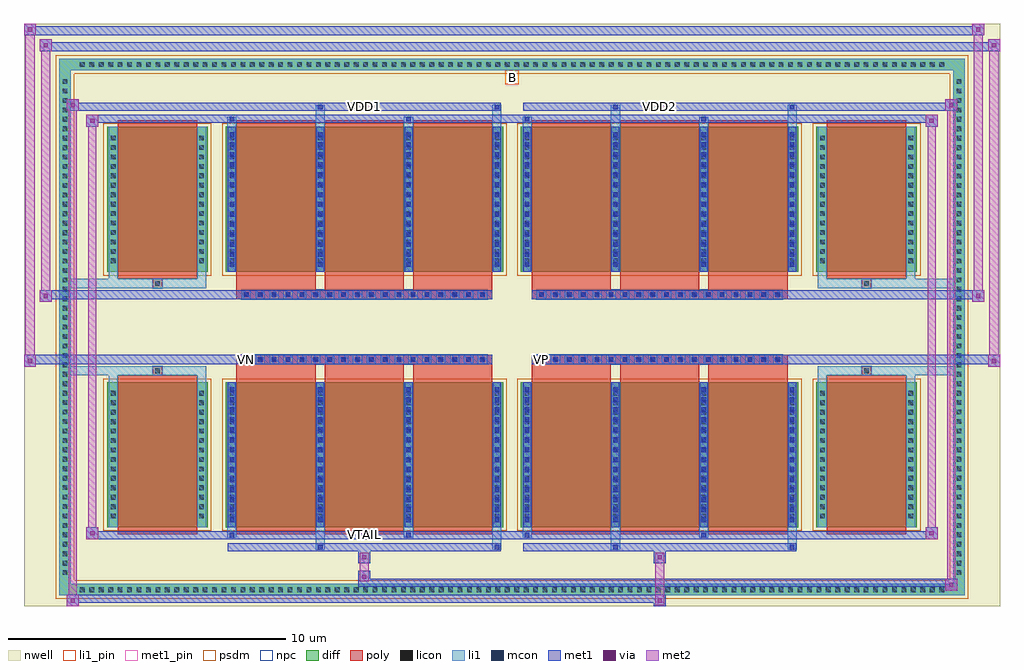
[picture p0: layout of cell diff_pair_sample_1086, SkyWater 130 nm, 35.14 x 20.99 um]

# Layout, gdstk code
import gdstk
lib = gdstk.Library(unit=1e-6, precision=5e-09)
def R(c, l, rs):  # rectangles x0, y0, x1, y1
    for r in rs: c.add(gdstk.rectangle(r[:2], r[2:], *l))
def A(c, l, x, y, w, h, nx, ny, dx, dy):  # array of equal rectangles
    R(c, l, [(x+i*dx, y+j*dy, x+i*dx+w, y+j*dy+h) for i in range(nx) for j in range(ny)])
def P(c, l, *ps):  # polygons
    for p in ps: c.add(gdstk.Polygon(p, *l))
nwell = (64, 20)
diff = (65, 20)
poly = (66, 20)
licon = (66, 44)
li1_pin = (67, 16)
li1 = (67, 20)
mcon = (67, 44)
met1_pin = (68, 16)
met1 = (68, 20)
via = (68, 44)
met2 = (69, 20)
psdm = (94, 20)
npc = (95, 20)

diff_pair_sample_1086 = lib.new_cell('diff_pair_sample_1086')
R(diff_pair_sample_1086, nwell, [(-17.57,-10.06,17.57,10.93), (-14.89,-8.25,-0.01,-0.805), (0.01,-8.25,14.89,-0.805), (-14.89,0.805,-0.01,8.25), (0.01,0.805,14.89,8.25)])
A(diff_pair_sample_1086, diff, -15.675, -9.66, 0.41, 0.41, 92, 2, 0.34, 18.91)
A(diff_pair_sample_1086, diff, -16.3, -9.045, 0.41, 0.41, 1, 53, 0, 0.34)
A(diff_pair_sample_1086, diff, 15.89, -9.045, 0.41, 0.41, 1, 53, 0, 0.34)
R(diff_pair_sample_1086, diff, [(-15.675,-9.66,15.675,-9.25), (-16.3,-9.045,-15.89,9.045), (15.89,-9.045,16.3,9.045), (-14.58,-7.205,-10.95,-1.985), (-10.31,-7.205,-0.32,-1.985), (0.32,-7.205,10.31,-1.985), (10.95,-7.205,14.58,-1.985), (-14.58,1.985,-10.95,7.205), (-10.31,1.985,-0.32,7.205), (0.32,1.985,10.31,7.205), (10.95,1.985,14.58,7.205), (-15.675,9.25,15.675,9.66)])
P(diff_pair_sample_1086, diff, [(16.3,9.66),(-16.3,9.66),(-16.3,-9.25),(-15.89,-9.25),(-15.89,9.25),(15.89,9.25),(15.89,-9.25),(-15.89,-9.25),(-16.3,-9.25),(-16.3,-9.66),(16.3,-9.66)])
A(diff_pair_sample_1086, poly, -9.92, -7.455, 2.85, 5.72, 3, 2, 3.18, 9.19)
A(diff_pair_sample_1086, poly, 0.71, -7.455, 2.85, 5.72, 3, 2, 3.18, 9.19)
A(diff_pair_sample_1086, poly, -9.92, -1.735, 2.85, 0.4, 3, 2, 3.18, 3.07)
A(diff_pair_sample_1086, poly, 0.71, -1.735, 2.85, 0.4, 3, 2, 3.18, 3.07)
A(diff_pair_sample_1086, poly, -9.73, -1.335, 0.33, 0.33, 18, 2, 0.5, 2.34)
A(diff_pair_sample_1086, poly, 0.9, -1.335, 0.33, 0.33, 18, 2, 0.5, 2.34)
R(diff_pair_sample_1086, poly, [(-14.19,-7.455,-11.34,-1.735), (11.34,-7.455,14.19,-1.735), (-12.93,-1.735,-12.6,-1.405), (-12.93,-1.735,-12.6,-1.405), (12.6,-1.735,12.93,-1.405), (12.6,-1.735,12.93,-1.405), (-9.92,-1.335,-0.71,-1.005), (0.71,-1.335,9.92,-1.005), (-9.92,1.005,-0.71,1.335), (0.71,1.005,9.92,1.335), (-12.93,1.405,-12.6,1.735), (-12.93,1.405,-12.6,1.735), (12.6,1.405,12.93,1.735), (12.6,1.405,12.93,1.735), (-14.19,1.735,-11.34,7.455), (11.34,1.735,14.19,7.455)])
A(diff_pair_sample_1086, licon, -15.555, -9.54, 0.17, 0.17, 92, 2, 0.34, 18.91)
A(diff_pair_sample_1086, licon, -16.18, -8.925, 0.17, 0.17, 1, 53, 0, 0.34)
A(diff_pair_sample_1086, licon, 16.01, -8.925, 0.17, 0.17, 1, 53, 0, 0.34)
A(diff_pair_sample_1086, licon, -14.44, -6.89, 0.17, 0.17, 1, 14, 0, 0.34)
A(diff_pair_sample_1086, licon, -11.26, -6.89, 0.17, 0.17, 1, 14, 0, 0.34)
A(diff_pair_sample_1086, licon, -10.17, -6.89, 0.17, 0.17, 4, 14, 3.18, 0.34)
A(diff_pair_sample_1086, licon, 0.46, -6.89, 0.17, 0.17, 4, 14, 3.18, 0.34)
A(diff_pair_sample_1086, licon, 11.09, -6.89, 0.17, 0.17, 1, 14, 0, 0.34)
A(diff_pair_sample_1086, licon, 14.27, -6.89, 0.17, 0.17, 1, 14, 0, 0.34)
A(diff_pair_sample_1086, licon, -9.65, -1.255, 0.17, 0.17, 18, 2, 0.5, 2.34)
A(diff_pair_sample_1086, licon, 0.98, -1.255, 0.17, 0.17, 18, 2, 0.5, 2.34)
A(diff_pair_sample_1086, licon, -14.44, 2.3, 0.17, 0.17, 1, 14, 0, 0.34)
A(diff_pair_sample_1086, licon, -11.26, 2.3, 0.17, 0.17, 1, 14, 0, 0.34)
A(diff_pair_sample_1086, licon, -10.17, 2.3, 0.17, 0.17, 4, 14, 3.18, 0.34)
A(diff_pair_sample_1086, licon, 0.46, 2.3, 0.17, 0.17, 4, 14, 3.18, 0.34)
A(diff_pair_sample_1086, licon, 11.09, 2.3, 0.17, 0.17, 1, 14, 0, 0.34)
A(diff_pair_sample_1086, licon, 14.27, 2.3, 0.17, 0.17, 1, 14, 0, 0.34)
R(diff_pair_sample_1086, licon, [(-12.85,-1.655,-12.68,-1.485), (12.68,-1.655,12.85,-1.485), (-12.85,1.485,-12.68,1.655), (12.68,1.485,12.85,1.655)])
R(diff_pair_sample_1086, li1_pin, [(-0.25,8.75,0.25,9.25)])
A(diff_pair_sample_1086, li1, -15.635, -9.62, 0.33, 0.33, 92, 2, 0.34, 18.91)
A(diff_pair_sample_1086, li1, -16.26, -9.005, 0.33, 0.33, 1, 53, 0, 0.34)
A(diff_pair_sample_1086, li1, 15.93, -9.005, 0.33, 0.33, 1, 53, 0, 0.34)
A(diff_pair_sample_1086, li1, -10.25, -7.205, 0.33, 5.22, 4, 2, 3.18, 9.19)
A(diff_pair_sample_1086, li1, 0.38, -7.205, 0.33, 5.22, 4, 2, 3.18, 9.19)
A(diff_pair_sample_1086, li1, -10.17, -7.02, 0.17, 0.17, 4, 14, 3.18, 0.36)
A(diff_pair_sample_1086, li1, -10.17, -7.02, 0.17, 4.85, 4, 2, 3.18, 9.19)
A(diff_pair_sample_1086, li1, 0.46, -7.02, 0.17, 0.17, 4, 14, 3.18, 0.36)
A(diff_pair_sample_1086, li1, 0.46, -7.02, 0.17, 4.85, 4, 2, 3.18, 9.19)
A(diff_pair_sample_1086, li1, -14.52, -6.97, 0.33, 0.33, 1, 14, 0, 0.34)
A(diff_pair_sample_1086, li1, -11.34, -6.97, 0.33, 0.33, 1, 14, 0, 0.34)
A(diff_pair_sample_1086, li1, -10.25, -6.97, 0.33, 0.33, 4, 14, 3.18, 0.34)
A(diff_pair_sample_1086, li1, 0.38, -6.97, 0.33, 0.33, 4, 14, 3.18, 0.34)
A(diff_pair_sample_1086, li1, 11.01, -6.97, 0.33, 0.33, 1, 14, 0, 0.34)
A(diff_pair_sample_1086, li1, 14.19, -6.97, 0.33, 0.33, 1, 14, 0, 0.34)
A(diff_pair_sample_1086, li1, -9.73, -1.335, 0.33, 0.33, 18, 2, 0.5, 2.34)
A(diff_pair_sample_1086, li1, 0.9, -1.335, 0.33, 0.33, 18, 2, 0.5, 2.34)
A(diff_pair_sample_1086, li1, -10.17, 2.17, 0.17, 0.17, 4, 14, 3.18, 0.36)
A(diff_pair_sample_1086, li1, 0.46, 2.17, 0.17, 0.17, 4, 14, 3.18, 0.36)
A(diff_pair_sample_1086, li1, -14.52, 2.22, 0.33, 0.33, 1, 14, 0, 0.34)
A(diff_pair_sample_1086, li1, -11.34, 2.22, 0.33, 0.33, 1, 14, 0, 0.34)
A(diff_pair_sample_1086, li1, -10.25, 2.22, 0.33, 0.33, 4, 14, 3.18, 0.34)
A(diff_pair_sample_1086, li1, 0.38, 2.22, 0.33, 0.33, 4, 14, 3.18, 0.34)
A(diff_pair_sample_1086, li1, 11.01, 2.22, 0.33, 0.33, 1, 14, 0, 0.34)
A(diff_pair_sample_1086, li1, 14.19, 2.22, 0.33, 0.33, 1, 14, 0, 0.34)
R(diff_pair_sample_1086, li1, [(-16.3,-9.66,-15.89,-9.25), (-16.3,-9.66,-15.89,-9.25), (-15.89,-9.66,15.89,-9.25), (15.89,-9.66,16.3,-9.25), (15.89,-9.66,16.3,-9.25), (-16.3,-9.25,-15.89,9.25), (15.89,-9.25,16.3,9.25), (-7.07,-8.01,-6.74,-7.205), (-6.99,-8.01,-6.82,-7.84), (-0.71,-8.01,-0.38,-7.205), (-0.63,-8.01,-0.46,-7.84), (3.56,-8.01,3.89,-7.205), (3.64,-8.01,3.81,-7.84), (9.92,-8.01,10.25,-7.205), (10,-8.01,10.17,-7.84), (-10.25,-7.58,-9.92,-7.205), (-10.17,-7.58,-10,-7.41), (-3.89,-7.58,-3.56,-7.205), (-3.81,-7.58,-3.64,-7.41), (0.38,-7.58,0.71,-7.205), (0.46,-7.58,0.63,-7.41), (6.74,-7.58,7.07,-7.205), (6.82,-7.58,6.99,-7.41), (-14.52,-7.205,-14.19,-1.985), (-11.34,-7.205,-11.01,-1.985), (11.01,-7.205,11.34,-1.985), (14.19,-7.205,14.52,-1.985), (-14.52,-1.985,-14.19,-1.405), (-11.34,-1.985,-11.01,-1.405), (11.01,-1.985,11.34,-1.405), (14.19,-1.985,14.52,-1.405), (-16.3,-1.735,-12.93,-1.405), (-14.52,-1.735,-12.93,-1.405), (-12.93,-1.735,-12.6,-1.405), (-12.6,-1.735,-11.01,-1.405), (11.01,-1.735,12.6,-1.405), (12.6,-1.735,12.93,-1.405), (12.6,-1.735,16.3,-1.405), (12.93,-1.735,14.52,-1.405), (-16.3,1.405,-12.93,1.735), (-14.52,1.405,-12.93,1.735), (-14.52,1.405,-14.19,1.985), (-12.93,1.405,-12.6,1.735), (-12.6,1.405,-11.01,1.735), (-11.34,1.405,-11.01,1.985), (11.01,1.405,12.6,1.735), (11.01,1.405,11.34,1.985), (12.6,1.405,12.93,1.735), (12.6,1.405,16.3,1.735), (12.93,1.405,14.52,1.735), (14.19,1.405,14.52,1.985), (-14.52,1.985,-14.19,7.205), (-11.34,1.985,-11.01,7.205), (11.01,1.985,11.34,7.205), (14.19,1.985,14.52,7.205), (-10.25,7.205,-9.92,7.58), (-7.07,7.205,-6.74,8.01), (-3.89,7.205,-3.56,7.58), (-0.71,7.205,-0.38,8.01), (0.38,7.205,0.71,7.58), (3.56,7.205,3.89,8.01), (6.74,7.205,7.07,7.58), (9.92,7.205,10.25,8.01), (-10.17,7.41,-10,7.58), (-3.81,7.41,-3.64,7.58), (0.46,7.41,0.63,7.58), (6.82,7.41,6.99,7.58), (-6.99,7.84,-6.82,8.01), (-0.63,7.84,-0.46,8.01), (3.64,7.84,3.81,8.01), (10,7.84,10.17,8.01), (-16.3,9.25,-15.89,9.66), (-16.3,9.25,-15.89,9.66), (-15.89,9.25,15.89,9.66), (15.89,9.25,16.3,9.66), (15.89,9.25,16.3,9.66)])
A(diff_pair_sample_1086, mcon, -10.17, -7.02, 0.17, 0.17, 4, 14, 3.18, 0.36)
A(diff_pair_sample_1086, mcon, 0.46, -7.02, 0.17, 0.17, 4, 14, 3.18, 0.36)
A(diff_pair_sample_1086, mcon, -9.65, -1.255, 0.17, 0.17, 18, 2, 0.5, 2.34)
A(diff_pair_sample_1086, mcon, 0.98, -1.255, 0.17, 0.17, 18, 2, 0.5, 2.34)
A(diff_pair_sample_1086, mcon, -10.17, 2.17, 0.17, 0.17, 4, 14, 3.18, 0.36)
A(diff_pair_sample_1086, mcon, 0.46, 2.17, 0.17, 0.17, 4, 14, 3.18, 0.36)
R(diff_pair_sample_1086, mcon, [(-6.99,-8.01,-6.82,-7.84), (-0.63,-8.01,-0.46,-7.84), (3.64,-8.01,3.81,-7.84), (10,-8.01,10.17,-7.84), (-10.17,-7.58,-10,-7.41), (-3.81,-7.58,-3.64,-7.41), (0.46,-7.58,0.63,-7.41), (6.82,-7.58,6.99,-7.41), (-10.17,7.41,-10,7.58), (-3.81,7.41,-3.64,7.58), (0.46,7.41,0.63,7.58), (6.82,7.41,6.99,7.58), (-6.99,7.84,-6.82,8.01), (-0.63,7.84,-0.46,8.01), (3.64,7.84,3.81,8.01), (10,7.84,10.17,8.01)])
R(diff_pair_sample_1086, met1_pin, [(-5.45,-7.62,-5.18,-7.35), (-9.7,-1.295,-9.43,-1.025), (0.93,-1.295,1.2,-1.025), (-5.45,7.8,-5.18,8.07), (5.18,7.8,5.45,8.07)])
A(diff_pair_sample_1086, met1, -10.23, -7.205, 0.29, 5.22, 4, 2, 3.18, 9.19)
A(diff_pair_sample_1086, met1, 0.4, -7.205, 0.29, 5.22, 4, 2, 3.18, 9.19)
A(diff_pair_sample_1086, met1, -10.23, -7.08, 0.29, 0.29, 4, 14, 3.18, 0.36)
A(diff_pair_sample_1086, met1, 0.4, -7.08, 0.29, 0.29, 4, 14, 3.18, 0.36)
A(diff_pair_sample_1086, met1, -9.71, -1.315, 0.29, 0.29, 18, 2, 0.5, 2.34)
A(diff_pair_sample_1086, met1, 0.92, -1.315, 0.29, 0.29, 18, 2, 0.5, 2.34)
A(diff_pair_sample_1086, met1, -10.23, 2.11, 0.29, 0.29, 4, 14, 3.18, 0.36)
A(diff_pair_sample_1086, met1, 0.4, 2.11, 0.29, 0.29, 4, 14, 3.18, 0.36)
R(diff_pair_sample_1086, met1, [(-16.03,-10.06,-15.6,-9.63), (5.1,-10.06,5.53,-9.63), (-16.03,-9.92,5.53,-9.63), (15.6,-9.49,16.03,-9.06), (-5.53,-9.35,16.03,-9.06), (-5.53,-9.21,-5.1,-8.78), (-5.53,-8.5,-5.1,-8.07), (5.1,-8.5,5.53,-8.07), (-10.23,-8.07,-0.4,-7.78), (-7.05,-8.07,-6.76,-7.78), (-0.69,-8.07,-0.4,-7.78), (0.4,-8.07,10.23,-7.78), (3.58,-8.07,3.87,-7.78), (9.94,-8.07,10.23,-7.78), (-15.32,-7.64,-14.89,-7.21), (-15.32,-7.64,-10.23,-7.35), (-10.23,-7.64,-9.94,-7.35), (-10.23,-7.64,-0.4,-7.35), (-3.87,-7.64,-3.58,-7.35), (-0.4,-7.64,0.4,-7.35), (0.4,-7.64,0.69,-7.35), (0.4,-7.64,10.23,-7.35), (6.76,-7.64,7.05,-7.35), (10.23,-7.64,15.32,-7.35), (14.89,-7.64,15.32,-7.21), (-17.57,-1.435,-17.14,-1.005), (17.14,-1.435,17.57,-1.005), (-17.57,-1.335,-0.71,-1.005), (-9.92,-1.335,-0.71,-1.005), (0.71,-1.335,9.92,-1.005), (0.71,-1.335,17.57,-1.005), (-17,0.905,-16.57,1.335), (16.57,0.905,17,1.335), (-17,1.005,-9.92,1.335), (-9.92,1.005,-0.71,1.335), (0.71,1.005,9.92,1.335), (9.92,1.005,17,1.335), (-15.32,7.21,-14.89,7.64), (14.89,7.21,15.32,7.64), (-15.32,7.35,-10.23,7.64), (-10.23,7.35,-9.94,7.64), (-10.23,7.35,-0.4,7.64), (-3.87,7.35,-3.58,7.64), (-0.4,7.35,0.4,7.64), (0.4,7.35,0.69,7.64), (0.4,7.35,10.23,7.64), (6.76,7.35,7.05,7.64), (10.23,7.35,15.32,7.64), (-16.03,7.78,-15.6,8.21), (-16.03,7.78,-10.23,8.07), (-10.23,7.78,-0.4,8.07), (-7.05,7.78,-6.76,8.07), (-0.69,7.78,-0.4,8.07), (0.4,7.78,10.23,8.07), (3.58,7.78,3.87,8.07), (9.94,7.78,10.23,8.07), (10.23,7.78,16.03,8.07), (15.6,7.78,16.03,8.21), (-17,9.93,-16.57,10.36), (-17,9.93,-14.89,10.26), (-14.89,9.93,14.89,10.26), (14.89,9.93,17.57,10.26), (17.14,9.93,17.57,10.36), (-17.57,10.5,-17.14,10.93), (-17.57,10.5,-14.89,10.83), (-14.89,10.5,14.89,10.83), (14.89,10.5,17,10.83), (16.57,10.5,17,10.93)])
R(diff_pair_sample_1086, via, [(-15.89,-9.92,-15.74,-9.77), (5.24,-9.92,5.39,-9.77), (15.74,-9.35,15.89,-9.2), (-5.39,-9.07,-5.24,-8.92), (-5.39,-8.36,-5.24,-8.21), (5.24,-8.36,5.39,-8.21), (-15.18,-7.5,-15.03,-7.35), (15.03,-7.5,15.18,-7.35), (-17.43,-1.295,-17.28,-1.145), (17.28,-1.295,17.43,-1.145), (-16.86,1.045,-16.71,1.195), (16.71,1.045,16.86,1.195), (-15.18,7.35,-15.03,7.5), (15.03,7.35,15.18,7.5), (-15.89,7.92,-15.74,8.07), (15.74,7.92,15.89,8.07), (-16.86,10.07,-16.71,10.22), (17.28,10.07,17.43,10.22), (-17.43,10.64,-17.28,10.79), (16.71,10.64,16.86,10.79)])
R(diff_pair_sample_1086, met2, [(-16.03,-10.06,-15.6,-9.63), (-15.96,-10.06,-15.67,8.21), (-15.67,-10.06,-15.6,-9.63), (-15.98,-10.01,-15.65,-9.68), (5.15,-10.01,5.48,-9.68), (5.15,-9.68,5.48,-8.45), (15.6,-9.49,16.03,-9.06), (15.67,-9.49,15.96,8.21), (15.96,-9.49,16.03,-9.06), (15.65,-9.44,15.98,-9.11), (-5.48,-9.16,-5.15,-8.83), (-5.48,-8.83,-5.15,-8.45), (-5.48,-8.45,-5.15,-8.12), (5.15,-8.45,5.48,-8.12), (-15.32,-7.64,-14.89,-7.21), (-15.25,-7.64,-14.96,7.64), (-14.96,-7.64,-14.89,-7.21), (14.89,-7.64,15.32,-7.21), (14.96,-7.64,15.25,7.64), (15.25,-7.64,15.32,-7.21), (-15.27,-7.59,-14.94,-7.26), (14.94,-7.59,15.27,-7.26), (-17.57,-1.435,-17.14,-1.005), (-17.52,-1.435,-17.19,10.93), (-17.19,-1.435,-17.14,-1.005), (17.14,-1.435,17.57,-1.005), (17.19,-1.435,17.52,10.36), (17.52,-1.435,17.57,-1.005), (-17.52,-1.385,-17.19,-1.055), (17.19,-1.385,17.52,-1.055), (-17,0.905,-16.57,1.335), (-16.95,0.905,-16.62,10.36), (-16.62,0.905,-16.57,1.335), (16.57,0.905,17,1.335), (16.62,0.905,16.95,10.93), (16.95,0.905,17,1.335), (-16.95,0.955,-16.62,1.285), (16.62,0.955,16.95,1.285), (-15.32,7.21,-14.89,7.64), (-14.96,7.21,-14.89,7.64), (14.89,7.21,15.32,7.64), (15.25,7.21,15.32,7.64), (-15.27,7.26,-14.94,7.59), (14.94,7.26,15.27,7.59), (-16.03,7.78,-15.6,8.21), (-15.67,7.78,-15.6,8.21), (15.6,7.78,16.03,8.21), (15.96,7.78,16.03,8.21), (-15.98,7.83,-15.65,8.16), (15.65,7.83,15.98,8.16), (-17,9.93,-16.57,10.36), (-16.62,9.93,-16.57,10.36), (17.14,9.93,17.57,10.36), (17.52,9.93,17.57,10.36), (-16.95,9.98,-16.62,10.31), (17.19,9.98,17.52,10.31), (-17.57,10.5,-17.14,10.93), (-17.19,10.5,-17.14,10.93), (16.57,10.5,17,10.93), (16.95,10.5,17,10.93), (-17.52,10.55,-17.19,10.88), (16.62,10.55,16.95,10.88)])
R(diff_pair_sample_1086, psdm, [(-14.71,-7.335,-10.82,-1.855), (-10.44,-7.335,-0.19,-1.855), (0.19,-7.335,10.44,-1.855), (10.82,-7.335,14.71,-1.855), (-14.71,1.855,-10.82,7.335), (-10.44,1.855,-0.19,7.335), (0.19,1.855,10.44,7.335), (10.82,1.855,14.71,7.335)])
P(diff_pair_sample_1086, psdm, [(16.43,9.79),(-16.43,9.79),(-16.43,-9.12),(-15.76,-9.12),(-15.76,9.12),(15.76,9.12),(15.76,-9.12),(-15.76,-9.12),(-16.43,-9.12),(-16.43,-9.79),(16.43,-9.79)])
A(diff_pair_sample_1086, npc, -9.75, -1.355, 0.37, 0.37, 18, 2, 0.5, 2.34)
A(diff_pair_sample_1086, npc, 0.88, -1.355, 0.37, 0.37, 18, 2, 0.5, 2.34)
R(diff_pair_sample_1086, npc, [(-12.95,-1.755,-12.58,-1.385), (12.58,-1.755,12.95,-1.385), (-9.75,-1.355,-8.88,-0.985), (-9.75,-1.355,-8.88,-0.985), (-9.25,-1.355,-8.38,-0.985), (-9.25,-1.355,-8.38,-0.985), (-8.75,-1.355,-7.88,-0.985), (-8.75,-1.355,-7.88,-0.985), (-8.25,-1.355,-7.38,-0.985), (-8.25,-1.355,-7.38,-0.985), (-7.75,-1.355,-6.88,-0.985), (-7.75,-1.355,-6.88,-0.985), (-7.25,-1.355,-6.38,-0.985), (-7.25,-1.355,-6.38,-0.985), (-6.75,-1.355,-5.88,-0.985), (-6.75,-1.355,-5.88,-0.985), (-6.25,-1.355,-5.38,-0.985), (-6.25,-1.355,-5.38,-0.985), (-5.75,-1.355,-4.88,-0.985), (-5.75,-1.355,-4.88,-0.985), (-5.25,-1.355,-4.38,-0.985), (-5.25,-1.355,-4.38,-0.985), (-4.75,-1.355,-3.88,-0.985), (-4.75,-1.355,-3.88,-0.985), (-4.25,-1.355,-3.38,-0.985), (-4.25,-1.355,-3.38,-0.985), (-3.75,-1.355,-2.88,-0.985), (-3.75,-1.355,-2.88,-0.985), (-3.25,-1.355,-2.38,-0.985), (-3.25,-1.355,-2.38,-0.985), (-2.75,-1.355,-1.88,-0.985), (-2.75,-1.355,-1.88,-0.985), (-2.25,-1.355,-1.38,-0.985), (-2.25,-1.355,-1.38,-0.985), (-1.75,-1.355,-0.88,-0.985), (-1.75,-1.355,-0.88,-0.985), (0.88,-1.355,1.75,-0.985), (0.88,-1.355,1.75,-0.985), (1.38,-1.355,2.25,-0.985), (1.38,-1.355,2.25,-0.985), (1.88,-1.355,2.75,-0.985), (1.88,-1.355,2.75,-0.985), (2.38,-1.355,3.25,-0.985), (2.38,-1.355,3.25,-0.985), (2.88,-1.355,3.75,-0.985), (2.88,-1.355,3.75,-0.985), (3.38,-1.355,4.25,-0.985), (3.38,-1.355,4.25,-0.985), (3.88,-1.355,4.75,-0.985), (3.88,-1.355,4.75,-0.985), (4.38,-1.355,5.25,-0.985), (4.38,-1.355,5.25,-0.985), (4.88,-1.355,5.75,-0.985), (4.88,-1.355,5.75,-0.985), (5.38,-1.355,6.25,-0.985), (5.38,-1.355,6.25,-0.985), (5.88,-1.355,6.75,-0.985), (5.88,-1.355,6.75,-0.985), (6.38,-1.355,7.25,-0.985), (6.38,-1.355,7.25,-0.985), (6.88,-1.355,7.75,-0.985), (6.88,-1.355,7.75,-0.985), (7.38,-1.355,8.25,-0.985), (7.38,-1.355,8.25,-0.985), (7.88,-1.355,8.75,-0.985), (7.88,-1.355,8.75,-0.985), (8.38,-1.355,9.25,-0.985), (8.38,-1.355,9.25,-0.985), (8.88,-1.355,9.75,-0.985), (8.88,-1.355,9.75,-0.985), (-9.75,0.985,-8.88,1.355), (-9.75,0.985,-8.88,1.355), (-9.25,0.985,-8.38,1.355), (-9.25,0.985,-8.38,1.355), (-8.75,0.985,-7.88,1.355), (-8.75,0.985,-7.88,1.355), (-8.25,0.985,-7.38,1.355), (-8.25,0.985,-7.38,1.355), (-7.75,0.985,-6.88,1.355), (-7.75,0.985,-6.88,1.355), (-7.25,0.985,-6.38,1.355), (-7.25,0.985,-6.38,1.355), (-6.75,0.985,-5.88,1.355), (-6.75,0.985,-5.88,1.355), (-6.25,0.985,-5.38,1.355), (-6.25,0.985,-5.38,1.355), (-5.75,0.985,-4.88,1.355), (-5.75,0.985,-4.88,1.355), (-5.25,0.985,-4.38,1.355), (-5.25,0.985,-4.38,1.355), (-4.75,0.985,-3.88,1.355), (-4.75,0.985,-3.88,1.355), (-4.25,0.985,-3.38,1.355), (-4.25,0.985,-3.38,1.355), (-3.75,0.985,-2.88,1.355), (-3.75,0.985,-2.88,1.355), (-3.25,0.985,-2.38,1.355), (-3.25,0.985,-2.38,1.355), (-2.75,0.985,-1.88,1.355), (-2.75,0.985,-1.88,1.355), (-2.25,0.985,-1.38,1.355), (-2.25,0.985,-1.38,1.355), (-1.75,0.985,-0.88,1.355), (-1.75,0.985,-0.88,1.355), (0.88,0.985,1.75,1.355), (0.88,0.985,1.75,1.355), (1.38,0.985,2.25,1.355), (1.38,0.985,2.25,1.355), (1.88,0.985,2.75,1.355), (1.88,0.985,2.75,1.355), (2.38,0.985,3.25,1.355), (2.38,0.985,3.25,1.355), (2.88,0.985,3.75,1.355), (2.88,0.985,3.75,1.355), (3.38,0.985,4.25,1.355), (3.38,0.985,4.25,1.355), (3.88,0.985,4.75,1.355), (3.88,0.985,4.75,1.355), (4.38,0.985,5.25,1.355), (4.38,0.985,5.25,1.355), (4.88,0.985,5.75,1.355), (4.88,0.985,5.75,1.355), (5.38,0.985,6.25,1.355), (5.38,0.985,6.25,1.355), (5.88,0.985,6.75,1.355), (5.88,0.985,6.75,1.355), (6.38,0.985,7.25,1.355), (6.38,0.985,7.25,1.355), (6.88,0.985,7.75,1.355), (6.88,0.985,7.75,1.355), (7.38,0.985,8.25,1.355), (7.38,0.985,8.25,1.355), (7.88,0.985,8.75,1.355), (7.88,0.985,8.75,1.355), (8.38,0.985,9.25,1.355), (8.38,0.985,9.25,1.355), (8.88,0.985,9.75,1.355), (8.88,0.985,9.75,1.355), (-12.95,1.385,-12.58,1.755), (12.58,1.385,12.95,1.755)])
diff_pair_sample_1086.add(gdstk.Label('VTAIL', (-5.315,-7.485), layer=68, texttype=5))
diff_pair_sample_1086.add(gdstk.Label('VN', (-9.565,-1.16), layer=68, texttype=5))
diff_pair_sample_1086.add(gdstk.Label('VP', (1.065,-1.16), layer=68, texttype=5))
diff_pair_sample_1086.add(gdstk.Label('B', (0,9), layer=67, texttype=5))
diff_pair_sample_1086.add(gdstk.Label('VDD2', (5.315,7.935), layer=68, texttype=5))
diff_pair_sample_1086.add(gdstk.Label('VDD1', (-5.315,7.935), layer=68, texttype=5))

lib.write_gds('diff_pair_sample_1086.gds')
